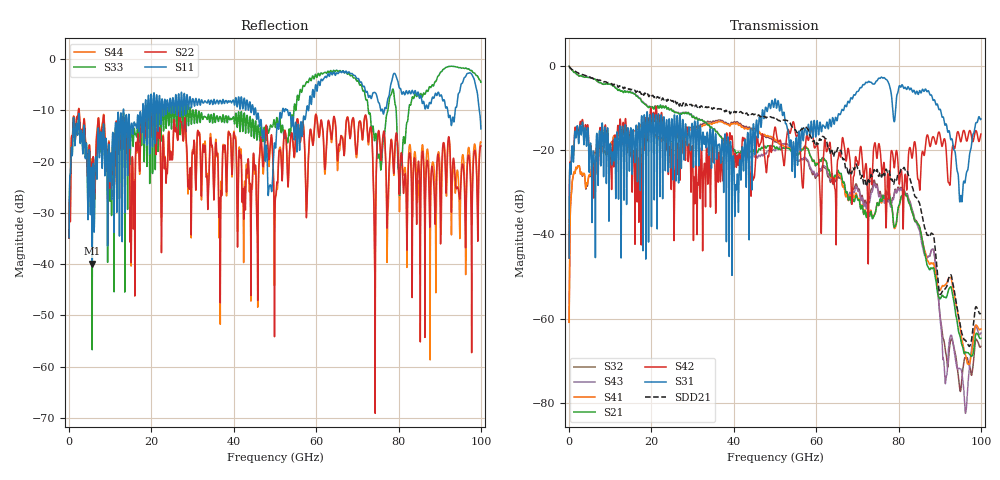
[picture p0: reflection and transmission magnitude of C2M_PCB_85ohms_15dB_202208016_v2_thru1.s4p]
! Info: Touchstone file created by Circ.  Input file=Intel_C2M_200G_4p0in_202208016_staggered.circ
# Hz S RI R 50
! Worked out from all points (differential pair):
!   10000 points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, 10 MHz to 100 GHz, reference 50 ohm
!   strongest paths, dB at 10 MHz, 25.01 GHz, 50.01 GHz, 75.01 GHz, 100 GHz:
!     S31: -45.7, -13.0, -7.9, -3.2, -12.7
!     S42: -45.7, -18.9, -14.6, -19.7, -16.3
!     S21: -0.2, -10.8, -19.6, -32.9, -64.7
!     S41: -60.9, -16.2, -17.7, -32.9, -62.5
!     S43: -0.2, -10.7, -20.2, -30.0, -63.4
!     S32: -60.9, -15.7, -18.1, -29.4, -66.6
!   taken as a pair (ports 1,3 in; 2,4 out), SDD21 dB: -0.2, -8.4, -12.9, -25.6, -58.7
!   lowest |S11| = -39.9 dB at 5.6 GHz (marker M1), VSWR 1.02, Z = 49.2 - j0.534 ohm
!   |S11| at or under -10 dB: start of sweep to 13.16 GHz; 45.33 GHz to 51.82 GHz (6.493 GHz wide, 13.4 % of centre); 53.07 GHz to 57.65 GHz (4.579 GHz wide, 8.27 % of centre)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
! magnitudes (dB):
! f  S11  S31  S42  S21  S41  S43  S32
! 10 MHz  -34.8  -45.7  -45.7  -0.2  -60.9  -0.2  -60.9
! 1.17 GHz  -11.9  -20.6  -19.8  -1.6  -25.3  -1.6  -25.3
! 5.6 GHz  -39.9  -35.5  -24.9  -3.0  -23.2  -3.0  -23.3
! 80.92 GHz  -6.8  -4.6  -28.2  -30.8  -31.0  -29.8  -29.5
! 91.4 GHz  -9.3  -14.0  -18.3  -55.0  -52.0  -75.4  -67.8
! 95.17 GHz  -5.0  -30.9  -18.0  -65.3  -63.6  -72.0  -76.6
! 100 GHz  -13.6  -12.7  -16.3  -64.7  -62.5  -63.4  -66.6
